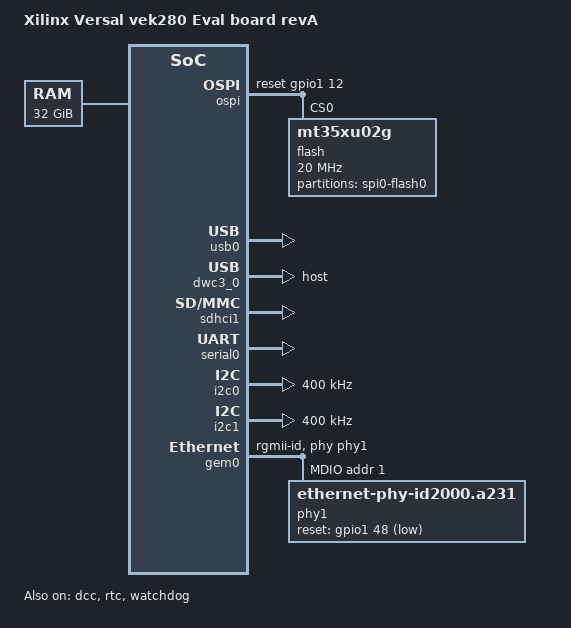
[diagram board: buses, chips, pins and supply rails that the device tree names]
// SPDX-License-Identifier: GPL-2.0
/*
 * dts file for Xilinx Versal VEK280 revA
 *
 * (C) Copyright 2022, Advanced Micro Devices, Inc
 *
 * Michal Simek <michal.simek@amd.com>
 */

#include <dt-bindings/net/ti-dp83867.h>
#include <dt-bindings/gpio/gpio.h>
#include "versal.dtsi"
#include "versal-clk.dtsi"

/ {
	compatible = "xlnx,versal-vek280-revA", "xlnx,versal-vek280",
		     "xlnx,versal";
	model = "Xilinx Versal vek280 Eval board revA";

	memory: memory@0 {
		device_type = "memory";
		reg = <0 0 0 0x80000000>, <0x8 0x0 0x7 0x80000000>; /* 32GB */
	};

	chosen {
		bootargs = "console=ttyAMA0 earlycon=pl011,mmio32,0xFF000000,115200n8 clk_ignore_unused";
		stdout-path = "serial0:115200";
	};

	aliases {
		serial0 = &serial0;
		i2c0 = &i2c0;
		i2c1 = &i2c1;
		mmc0 = &sdhci1;
		spi0 = &ospi;
		usb0 = &usb0;
		rtc0 = &rtc;
	};
};

/* VADJ_FMC_EN - LPD MIO23 */
/* FAN - LPD MIO21/22 */
/* VCC_PL_EN - LPD MIO20 */
/* PCIE_PERST - LPD MIO18/19 */
/* SD_BUSPWR - PMC MIO51 */
/* PCIE_WAKE - PMC MIO50 */
/* VCCPSLP_EN - PMC MIO49 */
/* I2C SYSMON - PMC MIO39 - 41 */
/* PCIE_PWRBRK - PMC MIO38 */
/* ZU4_TRIGGER - PMC MIO37 */
/* VCC_AUX_1V2 - MIO11 */

&ospi { /* PMC MIO0-10, 12, U297 MT35XU02G */
	status = "okay";
	compatible = "xlnx,versal-ospi-1.0", "cadence,qspi", "cdns,qspi-nor";
	bus-num = <2>;
	num-cs = <1>;
	#stream-id-cells = <1>;
	#address-cells = <1>;
	#size-cells = <0>;
	reset-gpios = <&gpio1 12 GPIO_ACTIVE_HIGH>;

	flash@0 {
		compatible = "mt35xu02g", "micron,m25p80", "jedec,spi-nor";
		reg = <0>;
		#address-cells = <1>;
		#size-cells = <1>;
		cdns,read-delay = <0>;
		cdns,tshsl-ns = <0>;
		cdns,tsd2d-ns = <0>;
		cdns,tchsh-ns = <1>;
		cdns,tslch-ns = <1>;
		spi-tx-bus-width = <8>;
		spi-rx-bus-width = <8>;
		spi-max-frequency = <20000000>;
		partition@0 {
			label = "spi0-flash0";
			reg = <0 0x8000000>;
		};
	};
};

&usb0 { /* PMC_MIO13_500 - PMC_MIO25 USB 2.0 */
	status = "okay";
	xlnx,usb-polarity = <0>;
	xlnx,usb-reset-mode = <0>;
};

&dwc3_0 { /* USB 2.0 host */
	status = "okay";
	dr_mode = "host";
	maximum-speed = "high-speed";
	snps,dis_u2_susphy_quirk;
	snps,dis_u3_susphy_quirk;
	snps,usb3_lpm_capable;
};

&sdhci1 { /* PMC_MIO26-36/51 */
	status = "okay";
	xlnx,mio-bank = <1>;
	no-1-8-v;
};

&serial0 { /* PMC_MIO42/43 */
	status = "okay";
};

&i2c0 { /* PMC_MIO46/47 */
	status = "okay";
	clock-frequency = <400000>;
};

&i2c1 { /* PMC_MIO44/45 */
	status = "okay";
	clock-frequency = <400000>;
};

&dcc {
	status = "okay";
};

&rtc {
	status = "okay";
};

&gpio0 {
	status = "okay";
};

&gpio1 {
	status = "okay";
};

&watchdog {
	status = "okay";
};

&gem0 { /* PMC_MIO_48, LPD_MIO0-11/24/25 */
	status = "okay";
	phy-handle = <&phy1>;
	phy-mode = "rgmii-id";
	mdio: mdio {
		#address-cells = <1>;
		#size-cells = <0>;
		phy1: ethernet-phy@1 { /* u198 */
			#phy-cells = <1>;
			compatible = "ethernet-phy-id2000.a231";
			reg = <1>;
			ti,rx-internal-delay = <DP83867_RGMIIDCTL_3_00_NS>;
			ti,tx-internal-delay = <DP83867_RGMIIDCTL_2_75_NS>;
			ti,fifo-depth = <1>;
			ti,dp83867-rxctrl-strap-quirk;
			reset-assert-us = <100>;
			reset-deassert-us = <280>;
			reset-gpios = <&gpio1 48 GPIO_ACTIVE_LOW>;
		};
	};
};
